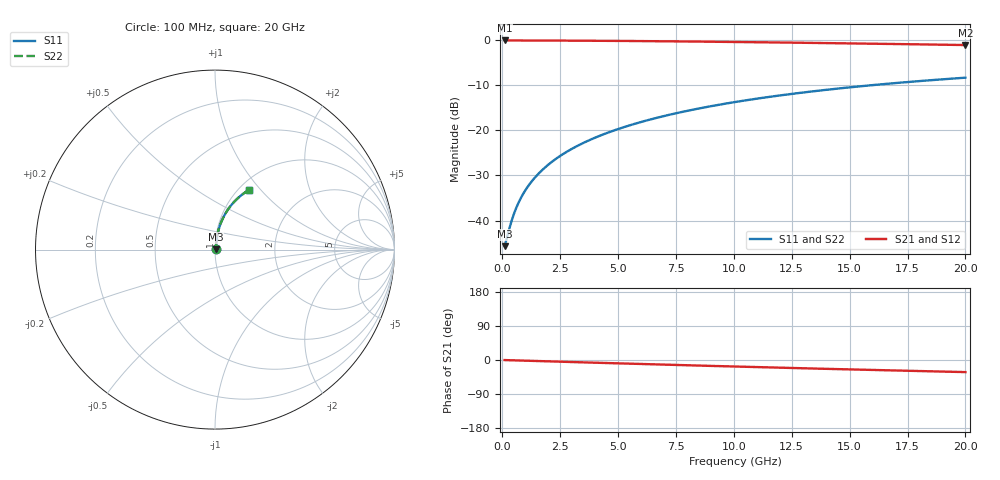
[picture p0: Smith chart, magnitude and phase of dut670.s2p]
! Touchstone file exported from HFSS 2024.1.0
!  File:  C:/UserFiles/LocalFiles/RDL_TSV_Batchsim/temp_RDL_top_670_1779782080.aedt
!  Generated:  03:57:07 PM May 26, 2026
!  Design:  RDL_top
!  Project:  temp_RDL_top_670_1779782080
!  Setup:  Setup1
!  Solution:  Sweep
! Variables:
!  dtsv = 10.80580581um
!  hbump = 3um
!  htsv = 60.63um
!  ldown = 100um
!  lrdl = 383.93um
!  p = 40
!  p1 = 44.83um
!  rhole = 1um
!  t = 450um
!  tdown = 3.915915916um
!  trdl = 2.42um
!  wdown = 15.38538539um
!  wrdl = 12.3um
# GHz S MA R 50.000000
! Terminal data exported
! Port[1] = Box2_T1
! Port[2] = Box2_T2
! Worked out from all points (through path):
!   200 points, 100 MHz to 20 GHz, reference 50 ohm
!   highest |S21| = -0.04 dB at 100 MHz (marker M1); lowest = -1.1 dB at 20 GHz (marker M2)
!   group delay of S21, straight-line fit = 4.43 ps
!   lowest |S11| = -45.7 dB at 100 MHz (marker M3), VSWR 1.01, Z = 50.5 + j0.218 ohm
!   |S11| at or under -10 dB: start of sweep to 15.89 GHz
!   |S22| runs from -45.7 to -8.3 dB; largest |S21 - S12| = 5.5e-15
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0.1  0.005196 24.5  0.9953 -0.2  0.9953 -0.2  0.005196 24.5
! Gamma 0 0 0 0
! Port Impedance 50 0 50 0
0.4  0.009886 60.0  0.9951 -0.7  0.9951 -0.7  0.009886 60.0
0.5  0.0118 64.6  0.9949 -0.9  0.9949 -0.9  0.0118 64.6
0.6  0.01376 67.9  0.9948 -1.1  0.9948 -1.1  0.01376 67.9
0.7  0.01575 70.3  0.9947 -1.3  0.9947 -1.3  0.01575 70.3
0.9  0.01975 73.5  0.9944 -1.6  0.9944 -1.6  0.01975 73.5
1.2  0.02577 76.4  0.994 -2.2  0.994 -2.2  0.02577 76.4
1.4  0.0298 77.7  0.9937 -2.5  0.9937 -2.5  0.0298 77.7
1.7  0.03587 78.9  0.9932 -3.1  0.9932 -3.1  0.03587 78.9
2.2  0.04602 80.1  0.9923 -4.0  0.9923 -4.0  0.04602 80.1
2.8  0.05826 80.7  0.991 -5.0  0.991 -5.0  0.05826 80.7
3.5  0.07261 80.9  0.9891 -6.2  0.9891 -6.2  0.07261 80.9
4.2  0.08701 80.6  0.9868 -7.5  0.9868 -7.5  0.08701 80.6
5  0.1035 80.1  0.9839 -8.9  0.9839 -8.9  0.1035 80.1
5.9  0.1221 79.3  0.9801 -10.4  0.9801 -10.4  0.122 79.3
6.8  0.1406 78.3  0.9758 -11.9  0.9758 -11.9  0.1406 78.3
8.3  0.1712 76.5  0.9679 -14.4  0.9679 -14.4  0.1712 76.5
10.1  0.2074 74.0  0.9572 -17.3  0.9572 -17.3  0.2074 74.0
11.7  0.2388 71.8  0.9469 -19.8  0.9469 -19.8  0.2388 71.8
13.4  0.2711 69.4  0.9351 -22.5  0.9351 -22.5  0.2711 69.4
16.7  0.3304 64.7  0.9108 -27.3  0.9108 -27.3  0.3304 64.7
20  0.3845 60.1  0.8852 -31.9  0.8852 -31.9  0.3845 60.1
